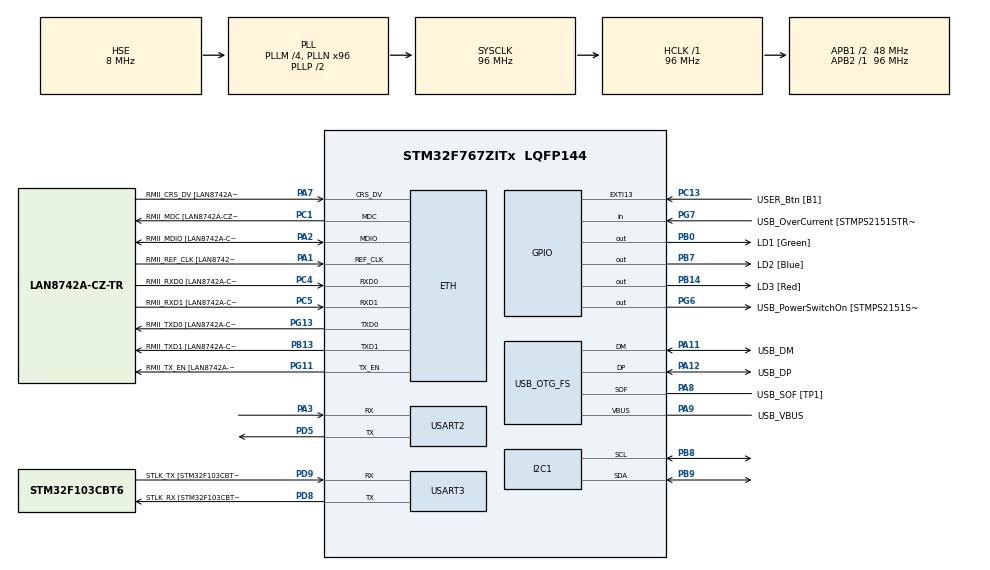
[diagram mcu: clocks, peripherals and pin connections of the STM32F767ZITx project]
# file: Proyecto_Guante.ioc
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Dma.I2C1_RX.1.Direction=DMA_PERIPH_TO_MEMORY
Dma.I2C1_RX.1.FIFOMode=DMA_FIFOMODE_DISABLE
Dma.I2C1_RX.1.Instance=DMA1_Stream0
Dma.I2C1_RX.1.MemDataAlignment=DMA_MDATAALIGN_BYTE
Dma.I2C1_RX.1.MemInc=DMA_MINC_ENABLE
Dma.I2C1_RX.1.Mode=DMA_NORMAL
Dma.I2C1_RX.1.PeriphDataAlignment=DMA_PDATAALIGN_BYTE
Dma.I2C1_RX.1.PeriphInc=DMA_PINC_DISABLE
Dma.I2C1_RX.1.Priority=DMA_PRIORITY_LOW
Dma.I2C1_TX.0.Direction=DMA_MEMORY_TO_PERIPH
Dma.I2C1_TX.0.FIFOMode=DMA_FIFOMODE_DISABLE
Dma.I2C1_TX.0.Instance=DMA1_Stream6
Dma.I2C1_TX.0.MemDataAlignment=DMA_MDATAALIGN_BYTE
Dma.I2C1_TX.0.MemInc=DMA_MINC_ENABLE
Dma.I2C1_TX.0.Mode=DMA_NORMAL
Dma.I2C1_TX.0.PeriphDataAlignment=DMA_PDATAALIGN_BYTE
Dma.I2C1_TX.0.PeriphInc=DMA_PINC_DISABLE
Dma.I2C1_TX.0.Priority=DMA_PRIORITY_LOW
Dma.Request0=I2C1_TX
Dma.Request1=I2C1_RX
ETH.MediaInterface=HAL_ETH_RMII_MODE
ETH.PHY_Name=LAN8742A_PHY_ADDRESS
ETH.PHY_Value=0
ETH.PhyAddress=0
I2C1.Timing=0x20303E5D
Mcu.Family=STM32F7
Mcu.Name=STM32F767ZITx
Mcu.Package=LQFP144
NVIC.DMA1_Stream0_IRQn=true\:0\:0\:false\:false\:true\:false\:true\:true
NVIC.DMA1_Stream6_IRQn=true\:0\:0\:false\:false\:true\:false\:true\:true
NVIC.PriorityGroup=NVIC_PRIORITYGROUP_4
PA1.GPIO_Label=RMII_REF_CLK [LAN8742A-CZ-TR_REFCLK0]
PA1.Mode=RMII
PA1.Signal=ETH_REF_CLK
PA10.GPIO_Label=USB_ID
PA10.Signal=USB_OTG_FS_ID
PA11.GPIO_Label=USB_DM
PA11.Mode=Device_Only
PA11.Signal=USB_OTG_FS_DM
PA12.GPIO_Label=USB_DP
PA12.Mode=Device_Only
PA12.Signal=USB_OTG_FS_DP
PA13.GPIO_Label=TMS
PA13.Mode=Serial_Wire
PA13.Signal=SYS_JTMS-SWDIO
PA14.GPIO_Label=TCK
PA14.Mode=Serial_Wire
PA14.Signal=SYS_JTCK-SWCLK
PA2.GPIO_Label=RMII_MDIO [LAN8742A-CZ-TR_MDIO]
PA2.Mode=RMII
PA2.Signal=ETH_MDIO
PA3.Mode=Asynchronous
PA3.Signal=USART2_RX
PA7.GPIO_Label=RMII_CRS_DV [LAN8742A-CZ-TR_CRS_DV]
PA7.Mode=RMII
PA7.Signal=ETH_CRS_DV
PA8.GPIO_Label=USB_SOF [TP1]
PA8.Mode=Activate_SOF_FS
PA8.Signal=USB_OTG_FS_SOF
PA9.GPIO_Label=USB_VBUS
PA9.Mode=Activate_VBUS
PA9.Signal=USB_OTG_FS_VBUS
PB0.GPIO_Label=LD1 [Green]
PB0.Signal=GPIO_Output
PB13.GPIO_Label=RMII_TXD1 [LAN8742A-CZ-TR_TXD1]
PB13.Mode=RMII
PB13.Signal=ETH_TXD1
PB14.GPIO_Label=LD3 [Red]
PB14.Signal=GPIO_Output
PB3.GPIO_Label=SWO
PB3.Signal=SYS_JTDO-SWO
PB7.GPIO_Label=LD2 [Blue]
PB7.Signal=GPIO_Output
PB8.Mode=I2C
PB8.Signal=I2C1_SCL
PB9.Mode=I2C
PB9.Signal=I2C1_SDA
PC1.GPIO_Label=RMII_MDC [LAN8742A-CZ-TR_MDC]
PC1.Mode=RMII
PC1.Signal=ETH_MDC
PC13.GPIO_Label=USER_Btn [B1]
PC13.Signal=GPXTI13
PC14/OSC32_IN.Mode=LSE-External-Oscillator
PC14/OSC32_IN.Signal=RCC_OSC32_IN
PC15/OSC32_OUT.Mode=LSE-External-Oscillator
PC15/OSC32_OUT.Signal=RCC_OSC32_OUT
PC4.GPIO_Label=RMII_RXD0 [LAN8742A-CZ-TR_RXD0]
PC4.Mode=RMII
PC4.Signal=ETH_RXD0
PC5.GPIO_Label=RMII_RXD1 [LAN8742A-CZ-TR_RXD1]
PC5.Mode=RMII
PC5.Signal=ETH_RXD1
PD5.Mode=Asynchronous
PD5.Signal=USART2_TX
PD8.GPIO_Label=STLK_RX [STM32F103CBT6_PA3]
PD8.Mode=Asynchronous
PD8.Signal=USART3_TX
PD9.GPIO_Label=STLK_TX [STM32F103CBT6_PA2]
PD9.Mode=Asynchronous
PD9.Signal=USART3_RX
PG11.GPIO_Label=RMII_TX_EN [LAN8742A-CZ-TR_TXEN]
PG11.Mode=RMII
PG11.Signal=ETH_TX_EN
PG13.GPIO_Label=RMII_TXD0 [LAN8742A-CZ-TR_TXD0]
PG13.Mode=RMII
PG13.Signal=ETH_TXD0
PG6.GPIO_Label=USB_PowerSwitchOn [STMPS2151STR_EN]
PG6.Signal=GPIO_Output
PG7.GPIO_Label=USB_OverCurrent [STMPS2151STR_FAULT]
PG7.Signal=GPIO_Input
PH0/OSC_IN.GPIO_Label=MCO [STM32F103CBT6_PA8]
PH0/OSC_IN.Mode=HSE-External-Clock-Source
PH0/OSC_IN.Signal=RCC_OSC_IN
PH1/OSC_OUT.Mode=HSE-External-Clock-Source
PH1/OSC_OUT.Signal=RCC_OSC_OUT
ProjectManager.HeapSize=0x200
ProjectManager.StackSize=0x400
ProjectManager.TargetToolchain=STM32CubeIDE
RCC.48MHZClocksFreq_Value=24000000
RCC.AHBFreq_Value=96000000
RCC.APB1CLKDivider=RCC_HCLK_DIV2
RCC.APB1Freq_Value=48000000
RCC.APB1TimFreq_Value=96000000
RCC.APB2Freq_Value=96000000
RCC.APB2TimFreq_Value=96000000
RCC.CortexFreq_Value=96000000
RCC.HCLKFreq_Value=96000000
RCC.HSE_VALUE=8000000
RCC.HSI_VALUE=16000000
RCC.PLLM=4
RCC.PLLMUL=RCC_PLL_MUL9
RCC.PLLN=96
RCC.PLLQ=4
RCC.PRESCALERUSB=RCC_USBCLKSOURCE_PLL_DIV1_5
RCC.SYSCLKFreq_VALUE=96000000
RCC.SYSCLKSource=RCC_SYSCLKSOURCE_PLLCLK
RCC.SYSCLKSourceVirtual=RCC_SYSCLKSOURCE_PLLCLK
RCC.USBFreq_Value=48000000
RCC.VCOOutputFreq_Value=192000000
USART2.VirtualMode-Asynchronous=VM_ASYNC
USART3.VirtualMode-Asynchronous=VM_ASYNC
USB_OTG_FS.VirtualMode=Device_Only
board=NUCLEO-F767ZI

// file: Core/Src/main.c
/* USER CODE BEGIN Header */
/**
  ******************************************************************************
  * @file           : main.c
  * @brief          : Main program body
  ******************************************************************************
  * @attention
  *
  * Copyright (c) 2024 STMicroelectronics.
  * All rights reserved.
  *
  * This software is licensed under terms that can be found in the LICENSE file
  * in the root directory of this software component.
  * If no LICENSE file comes with this software, it is provided AS-IS.
  *
  ******************************************************************************
  */
/* USER CODE END Header */
#include "main.h"
#include "string.h"
#include "stdio.h"

#if defined ( __ICCARM__ ) /*!< IAR Compiler */
#pragma location=0x2007c000
ETH_DMADescTypeDef  DMARxDscrTab[ETH_RX_DESC_CNT]; /* Ethernet Rx DMA Descriptors */
#pragma location=0x2007c0a0
ETH_DMADescTypeDef  DMATxDscrTab[ETH_TX_DESC_CNT]; /* Ethernet Tx DMA Descriptors */

#elif defined ( __CC_ARM )  /* MDK ARM Compiler */

__attribute__((at(0x2007c000))) ETH_DMADescTypeDef  DMARxDscrTab[ETH_RX_DESC_CNT]; /* Ethernet Rx DMA Descriptors */
__attribute__((at(0x2007c0a0))) ETH_DMADescTypeDef  DMATxDscrTab[ETH_TX_DESC_CNT]; /* Ethernet Tx DMA Descriptors */

#elif defined ( __GNUC__ ) /* GNU Compiler */
ETH_DMADescTypeDef DMARxDscrTab[ETH_RX_DESC_CNT] __attribute__((section(".RxDecripSection"))); /* Ethernet Rx DMA Descriptors */
ETH_DMADescTypeDef DMATxDscrTab[ETH_TX_DESC_CNT] __attribute__((section(".TxDecripSection")));   /* Ethernet Tx DMA Descriptors */

#endif

ETH_TxPacketConfig TxConfig;

ETH_HandleTypeDef heth;

I2C_HandleTypeDef hi2c1;
DMA_HandleTypeDef hdma_i2c1_tx;
DMA_HandleTypeDef hdma_i2c1_rx;

UART_HandleTypeDef huart2;
UART_HandleTypeDef huart3;

PCD_HandleTypeDef hpcd_USB_OTG_FS;

void SystemClock_Config(void);
static void MX_GPIO_Init(void);
static void MX_DMA_Init(void);
static void MX_USART3_UART_Init(void);
static void MX_USB_OTG_FS_PCD_Init(void);
static void MX_I2C1_Init(void);
static void MX_USART2_UART_Init(void);
static void MX_ETH_Init(void);

/* USER CODE BEGIN 0 */
#ifdef __GNUC__
#define PUTCHAR_PROTOTYPE int __io_putchar(int ch)
#else
#define PUTCHAR_PROTOTYPE int fputc(int ch, FILE *f)
#endif /* __GNUC__ */

PUTCHAR_PROTOTYPE {
        while (HAL_UART_Transmit(&huart2, (uint8_t *)&ch, 1, 10) != HAL_OK) {};
 return ch;
};

/* USER CODE END 0 */

int main(void)
{

  /* MCU Configuration--------------------------------------------------------*/

  /* Reset of all peripherals, Initializes the Flash interface and the Systick. */
  HAL_Init();

  /* Configure the system clock */
  SystemClock_Config();

  /* Initialize all configured peripherals */
  MX_GPIO_Init();
  MX_DMA_Init();
  MX_USART3_UART_Init();
  MX_USB_OTG_FS_PCD_Init();
  MX_I2C1_Init();
  MX_USART2_UART_Init();
  MX_ETH_Init();
  /* USER CODE BEGIN 2 */

  bno = (bno055_t){
         .i2c = &hi2c1, .addr = BNO_ADDR, .mode = BNO_MODE_IMU, ._temp_unit = 0,
     };

  bno055_init(&bno);

  bno055_vec3_t gyroscope;
  bno055_vec3_t accelerometer;
  /* USER CODE END 2 */

  /* Infinite loop */
  while (1)
  {

    /* USER CODE BEGIN 3 */
	  // Read Gyroscope data on all axis
	  bno055_vec4_t qua;
	  bno055_quaternion(&bno, &qua);
	  // OR
	  //bno.quaternion(&bno, &qua);
	  printf("%2.2f | %2.2f | %2.2f | %2.2f\n", qua.w, qua.x, qua.y, qua.z);
  }
  /* USER CODE END 3 */
}

void SystemClock_Config(void)
{
  RCC_OscInitTypeDef RCC_OscInitStruct = {0};
  RCC_ClkInitTypeDef RCC_ClkInitStruct = {0};

  /** Configure LSE Drive Capability
  */
  HAL_PWR_EnableBkUpAccess();

  /** Configure the main internal regulator output voltage
  */
  __HAL_RCC_PWR_CLK_ENABLE();
  __HAL_PWR_VOLTAGESCALING_CONFIG(PWR_REGULATOR_VOLTAGE_SCALE3);

  /** Initializes the RCC Oscillators according to the specified parameters
  * in the RCC_OscInitTypeDef structure.
  */
  RCC_OscInitStruct.OscillatorType = RCC_OSCILLATORTYPE_HSE;
  RCC_OscInitStruct.HSEState = RCC_HSE_BYPASS;
  RCC_OscInitStruct.PLL.PLLState = RCC_PLL_ON;
  RCC_OscInitStruct.PLL.PLLSource = RCC_PLLSOURCE_HSE;
  RCC_OscInitStruct.PLL.PLLM = 4;
  RCC_OscInitStruct.PLL.PLLN = 96;
  RCC_OscInitStruct.PLL.PLLP = RCC_PLLP_DIV2;
  RCC_OscInitStruct.PLL.PLLQ = 4;
  RCC_OscInitStruct.PLL.PLLR = 2;
  if (HAL_RCC_OscConfig(&RCC_OscInitStruct) != HAL_OK)
  {
    Error_Handler();
  }

  /** Activate the Over-Drive mode
  */
  if (HAL_PWREx_EnableOverDrive() != HAL_OK)
  {
    Error_Handler();
  }

  /** Initializes the CPU, AHB and APB buses clocks
  */
  RCC_ClkInitStruct.ClockType = RCC_CLOCKTYPE_HCLK|RCC_CLOCKTYPE_SYSCLK
                              |RCC_CLOCKTYPE_PCLK1|RCC_CLOCKTYPE_PCLK2;
  RCC_ClkInitStruct.SYSCLKSource = RCC_SYSCLKSOURCE_PLLCLK;
  RCC_ClkInitStruct.AHBCLKDivider = RCC_SYSCLK_DIV1;
  RCC_ClkInitStruct.APB1CLKDivider = RCC_HCLK_DIV2;
  RCC_ClkInitStruct.APB2CLKDivider = RCC_HCLK_DIV1;

  if (HAL_RCC_ClockConfig(&RCC_ClkInitStruct, FLASH_LATENCY_3) != HAL_OK)
  {
    Error_Handler();
  }
}

static void MX_ETH_Init(void)
{

   static uint8_t MACAddr[6];

  heth.Instance = ETH;
  MACAddr[0] = 0x00;
  MACAddr[1] = 0x80;
  MACAddr[2] = 0xE1;
  MACAddr[3] = 0x00;
  MACAddr[4] = 0x00;
  MACAddr[5] = 0x00;
  heth.Init.MACAddr = &MACAddr[0];
  heth.Init.MediaInterface = HAL_ETH_RMII_MODE;
  heth.Init.TxDesc = DMATxDscrTab;
  heth.Init.RxDesc = DMARxDscrTab;
  heth.Init.RxBuffLen = 1524;

  if (HAL_ETH_Init(&heth) != HAL_OK)
  {
    Error_Handler();
  }

  memset(&TxConfig, 0 , sizeof(ETH_TxPacketConfig));
  TxConfig.Attributes = ETH_TX_PACKETS_FEATURES_CSUM | ETH_TX_PACKETS_FEATURES_CRCPAD;
  TxConfig.ChecksumCtrl = ETH_CHECKSUM_IPHDR_PAYLOAD_INSERT_PHDR_CALC;
  TxConfig.CRCPadCtrl = ETH_CRC_PAD_INSERT;

}

static void MX_I2C1_Init(void)
{

  hi2c1.Instance = I2C1;
  hi2c1.Init.Timing = 0x20303E5D;
  hi2c1.Init.OwnAddress1 = 0;
  hi2c1.Init.AddressingMode = I2C_ADDRESSINGMODE_7BIT;
  hi2c1.Init.DualAddressMode = I2C_DUALADDRESS_DISABLE;
  hi2c1.Init.OwnAddress2 = 0;
  hi2c1.Init.OwnAddress2Masks = I2C_OA2_NOMASK;
  hi2c1.Init.GeneralCallMode = I2C_GENERALCALL_DISABLE;
  hi2c1.Init.NoStretchMode = I2C_NOSTRETCH_DISABLE;
  if (HAL_I2C_Init(&hi2c1) != HAL_OK)
  {
    Error_Handler();
  }

  /** Configure Analogue filter
  */
  if (HAL_I2CEx_ConfigAnalogFilter(&hi2c1, I2C_ANALOGFILTER_ENABLE) != HAL_OK)
  {
    Error_Handler();
  }

  /** Configure Digital filter
  */
  if (HAL_I2CEx_ConfigDigitalFilter(&hi2c1, 0) != HAL_OK)
  {
    Error_Handler();
  }

}

static void MX_USART2_UART_Init(void)
{

  huart2.Instance = USART2;
  huart2.Init.BaudRate = 115200;
  huart2.Init.WordLength = UART_WORDLENGTH_8B;
  huart2.Init.StopBits = UART_STOPBITS_1;
  huart2.Init.Parity = UART_PARITY_NONE;
  huart2.Init.Mode = UART_MODE_TX_RX;
  huart2.Init.HwFlowCtl = UART_HWCONTROL_NONE;
  huart2.Init.OverSampling = UART_OVERSAMPLING_16;
  huart2.Init.OneBitSampling = UART_ONE_BIT_SAMPLE_DISABLE;
  huart2.AdvancedInit.AdvFeatureInit = UART_ADVFEATURE_NO_INIT;
  if (HAL_UART_Init(&huart2) != HAL_OK)
  {
    Error_Handler();
  }

}

static void MX_USART3_UART_Init(void)
{

  huart3.Instance = USART3;
  huart3.Init.BaudRate = 115200;
  huart3.Init.WordLength = UART_WORDLENGTH_8B;
  huart3.Init.StopBits = UART_STOPBITS_1;
  huart3.Init.Parity = UART_PARITY_NONE;
  huart3.Init.Mode = UART_MODE_TX_RX;
  huart3.Init.HwFlowCtl = UART_HWCONTROL_NONE;
  huart3.Init.OverSampling = UART_OVERSAMPLING_16;
  huart3.Init.OneBitSampling = UART_ONE_BIT_SAMPLE_DISABLE;
  huart3.AdvancedInit.AdvFeatureInit = UART_ADVFEATURE_NO_INIT;
  if (HAL_UART_Init(&huart3) != HAL_OK)
  {
    Error_Handler();
  }

}

static void MX_USB_OTG_FS_PCD_Init(void)
{

  hpcd_USB_OTG_FS.Instance = USB_OTG_FS;
  hpcd_USB_OTG_FS.Init.dev_endpoints = 6;
  hpcd_USB_OTG_FS.Init.speed = PCD_SPEED_FULL;
  hpcd_USB_OTG_FS.Init.dma_enable = DISABLE;
  hpcd_USB_OTG_FS.Init.phy_itface = PCD_PHY_EMBEDDED;
  hpcd_USB_OTG_FS.Init.Sof_enable = ENABLE;
  hpcd_USB_OTG_FS.Init.low_power_enable = DISABLE;
  hpcd_USB_OTG_FS.Init.lpm_enable = DISABLE;
  hpcd_USB_OTG_FS.Init.vbus_sensing_enable = ENABLE;
  hpcd_USB_OTG_FS.Init.use_dedicated_ep1 = DISABLE;
  if (HAL_PCD_Init(&hpcd_USB_OTG_FS) != HAL_OK)
  {
    Error_Handler();
  }

}

static void MX_DMA_Init(void)
{

  /* DMA controller clock enable */
  __HAL_RCC_DMA1_CLK_ENABLE();

  /* DMA interrupt init */
  /* DMA1_Stream0_IRQn interrupt configuration */
  HAL_NVIC_SetPriority(DMA1_Stream0_IRQn, 0, 0);
  HAL_NVIC_EnableIRQ(DMA1_Stream0_IRQn);
  /* DMA1_Stream6_IRQn interrupt configuration */
  HAL_NVIC_SetPriority(DMA1_Stream6_IRQn, 0, 0);
  HAL_NVIC_EnableIRQ(DMA1_Stream6_IRQn);

}

static void MX_GPIO_Init(void)
{
  GPIO_InitTypeDef GPIO_InitStruct = {0};

  /* GPIO Ports Clock Enable */
  __HAL_RCC_GPIOC_CLK_ENABLE();
  __HAL_RCC_GPIOH_CLK_ENABLE();
  __HAL_RCC_GPIOA_CLK_ENABLE();
  __HAL_RCC_GPIOB_CLK_ENABLE();
  __HAL_RCC_GPIOD_CLK_ENABLE();
  __HAL_RCC_GPIOG_CLK_ENABLE();

  /*Configure GPIO pin Output Level */
  HAL_GPIO_WritePin(GPIOB, LD1_Pin|LD3_Pin|LD2_Pin, GPIO_PIN_RESET);

  /*Configure GPIO pin Output Level */
  HAL_GPIO_WritePin(USB_PowerSwitchOn_GPIO_Port, USB_PowerSwitchOn_Pin, GPIO_PIN_RESET);

  /*Configure GPIO pin : USER_Btn_Pin */
  GPIO_InitStruct.Pin = USER_Btn_Pin;
  GPIO_InitStruct.Mode = GPIO_MODE_IT_RISING;
  GPIO_InitStruct.Pull = GPIO_NOPULL;
  HAL_GPIO_Init(USER_Btn_GPIO_Port, &GPIO_InitStruct);

  /*Configure GPIO pins : LD1_Pin LD3_Pin LD2_Pin */
  GPIO_InitStruct.Pin = LD1_Pin|LD3_Pin|LD2_Pin;
  GPIO_InitStruct.Mode = GPIO_MODE_OUTPUT_PP;
  GPIO_InitStruct.Pull = GPIO_NOPULL;
  GPIO_InitStruct.Speed = GPIO_SPEED_FREQ_LOW;
  HAL_GPIO_Init(GPIOB, &GPIO_InitStruct);

  /*Configure GPIO pin : USB_PowerSwitchOn_Pin */
  GPIO_InitStruct.Pin = USB_PowerSwitchOn_Pin;
  GPIO_InitStruct.Mode = GPIO_MODE_OUTPUT_PP;
  GPIO_InitStruct.Pull = GPIO_NOPULL;
  GPIO_InitStruct.Speed = GPIO_SPEED_FREQ_LOW;
  HAL_GPIO_Init(USB_PowerSwitchOn_GPIO_Port, &GPIO_InitStruct);

  /*Configure GPIO pin : USB_OverCurrent_Pin */
  GPIO_InitStruct.Pin = USB_OverCurrent_Pin;
  GPIO_InitStruct.Mode = GPIO_MODE_INPUT;
  GPIO_InitStruct.Pull = GPIO_NOPULL;
  HAL_GPIO_Init(USB_OverCurrent_GPIO_Port, &GPIO_InitStruct);

}

void Error_Handler(void)
{
  __disable_irq();
  while (1)
  {
  }
}
